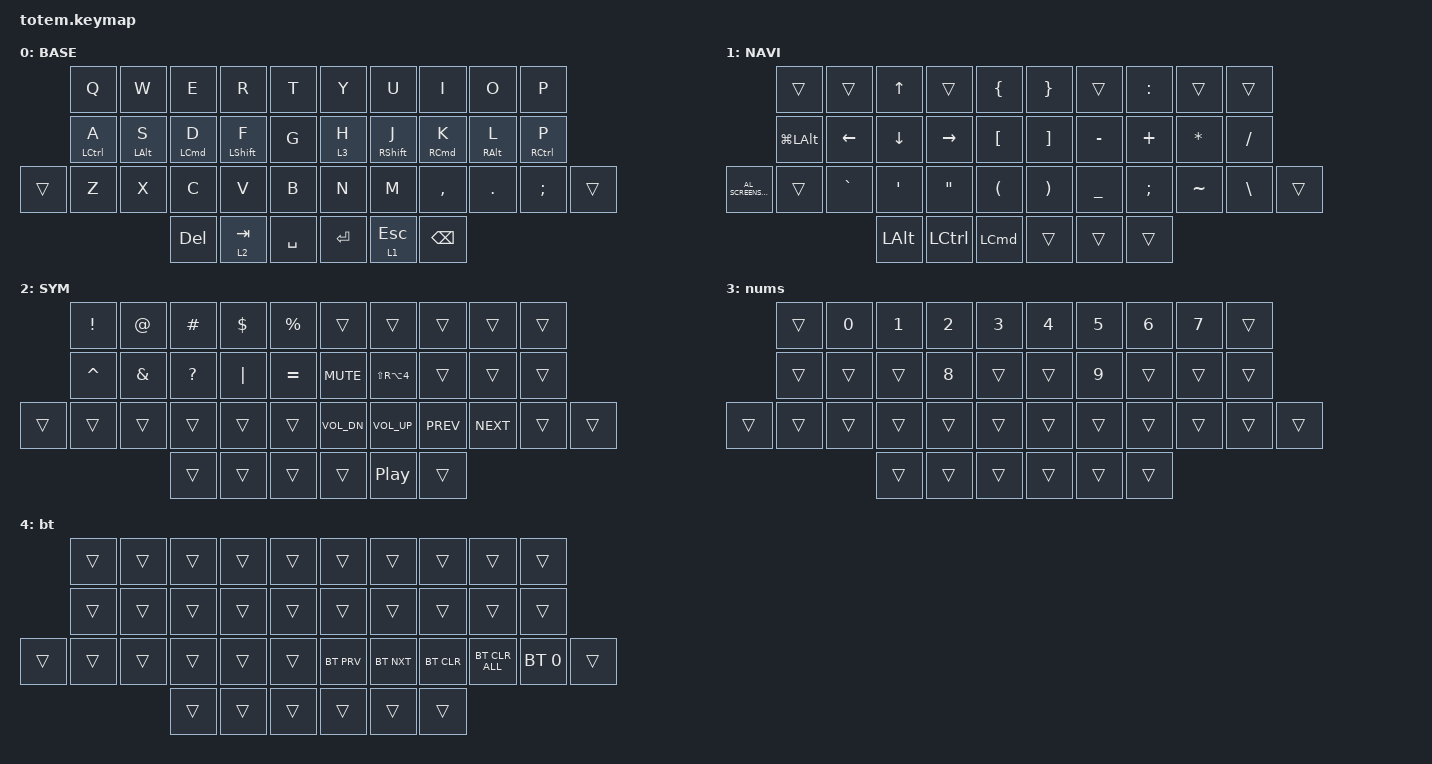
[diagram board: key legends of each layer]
//
//                                                        ▀▀▀▀▀     ▀▀▀▀▀          ▀▀█▀▀
//                                                        ▄▀▀▀▄  ▄  ▄▀▀▀▄  ▄  ▄▀▀▀▄  █  ▄▀▀▀▄
//                                                        █   █  █  █   █  █  █   █  █  █   █
//                                                         ▀▀▀   █   ▀▀▀   █   ▀▀▀   ▀   ▀▀▀
//                                                               █      ▄▄▄█▄▄▄    █   █  
//                                                               ▀      █  █  █     █▄█
//                                                             ▀▀▀▀▀    █  █  █      ▀
//                                                                      ▀  ▀  ▀
//
// ▄▄▄▄▄▄▄▄▄▄▄▄▄▄▄▄▄▄▄▄▄▄▄▄▄▄▄▄▄▄▄▄▄▄▄▄▄▄▄▄▄▄▄▄▄▄▄▄▄▄▄▄▄▄▄▄▄▄▄▄▄▄▄▄▄▄▄▄▄▄▄▄▄▄▄▄▄▄▄▄▄▄▄▄▄▄▄▄▄▄▄▄▄▄▄▄▄▄▄▄▄▄▄▄▄▄▄▄▄▄▄▄▄▄▄▄▄▄▄▄▄▄▄▄▄▄▄▄▄▄▄▄▄▄▄▄▄▄▄▄▄▄▄▄▄▄▄▄▄

#include <behaviors.dtsi>
#include <dt-bindings/zmk/bt.h>
#include <dt-bindings/zmk/keys.h>

#define BASE 0
#define NAV  1
#define SYM  2
#define ADJ  3
#define TVP1 4
#define TVP2 5

&mt {
    quick-tap-ms = <100>;
    global-quick-tap;
    flavor = "tap-preferred";
    tapping-term-ms = <170>;
};

/ {
    combos {
        compatible = "zmk,combos";

        combo_esc {
            timeout-ms = <50>;
            key-positions = <0 1>;
            bindings = <&kp ESC>;
        };

        combo_tvp {
            timeout-ms = <100>;
            key-positions = <11 12 13>;
            bindings = <&tog 0>;
        };
    };

    keymap {
        compatible = "zmk,keymap";

        // ▄▄▄▄▄▄▄▄▄▄▄▄▄▄▄▄▄▄▄▄▄▄▄▄▄▄▄▄▄▄▄▄▄▄▄▄▄▄▄▄▄▄▄▄▄▄▄▄▄▄▄▄▄▄▄▄▄▄▄▄▄▄▄▄▄▄▄▄▄▄▄▄▄▄▄▄▄▄▄▄▄▄▄▄▄▄▄▄▄▄▄▄▄▄▄▄▄▄▄▄▄▄▄▄▄▄▄▄▄▄▄▄▄▄▄▄▄▄▄▄▄▄▄▄▄▄▄▄▄▄▄▄▄▄▄▄▄▄▄▄▄▄▄▄▄▄▄▄▄

        base_layer {
            // ┏━━━━━━━━━━━━━━━━━━━━━━━━━━━━━━━━━━━━━━━┓

            label = "BASE";

            // ┗━━━━━━━━━━━━━━━━━━━━━━━━━━━━━━━━━━━━━━━┛
            //             ┏━━━━━━━━━━━┳━━━━━━━━━━━┳━━━━━━━━━━━┳━━━━━━━━━━━┳━━━━━━━━━━━┓   ┏━━━━━━━━━━━┳━━━━━━━━━━━┳━━━━━━━━━━━┳━━━━━━━━━━━┳━━━━━━━━━━━┓
            //             ┃     Q     ┃     W     ┃     F     ┃     P     ┃     G     ┃   ┃     J     ┃     L     ┃     U     ┃     Y     ┃     ;     ┃
            //             ┣━━━━━━━━━━━╋━━━━━━━━━━━╋━━━━━━━━━━━╋━━━━━━━━━━━╋━━━━━━━━━━━┫   ┣━━━━━━━━━━━╋━━━━━━━━━━━╋━━━━━━━━━━━╋━━━━━━━━━━━╋━━━━━━━━━━━┫
            //             ┃     A     ┃     R     ┃     S     ┃     T     ┃     D     ┃   ┃     H     ┃     N     ┃     E     ┃     I     ┃     O     ┃
            // ┏━━━━━━━━━━━╋━━━━━━━━━━━╋━━━━━━━━━━━╋━━━━━━━━━━━╋━━━━━━━━━━━╋━━━━━━━━━━━┫   ┣━━━━━━━━━━━╋━━━━━━━━━━━╋━━━━━━━━━━━╋━━━━━━━━━━━╋━━━━━━━━━━━╋━━━━━━━━━━━┓
            // ┃     Q     ┃     Z     ┃     X     ┃     C     ┃     V     ┃     B     ┃   ┃     K     ┃     M     ┃     ,     ┃     .     ┃     /     ┃     \     ┃
            // ┗━━━━━━━━━━━┻━━━━━━━━━━━┻━━━━━━━━━━━╋━━━━━━━━━━━╋━━━━━━━━━━━╋━━━━━━━━━━━┫   ┣━━━━━━━━━━━╋━━━━━━━━━━━╋━━━━━━━━━━━╋━━━━━━━━━━━┻━━━━━━━━━━━┻━━━━━━━━━━━┛
            //                                     ┃    DEL    ┃    TAB    ┃    SPC    ┃   ┃   ENTER   ┃           ┃   BSPC    ┃
            //                                     ┗━━━━━━━━━━━┻━━━━━━━━━━━┻━━━━━━━━━━━┛   ┗━━━━━━━━━━━┻━━━━━━━━━━━┻━━━━━━━━━━━┛

            bindings = <
        &kp Q        &kp W       &kp E               &kp R        &kp T        &kp Y    &kp U        &kp I       &kp O       &kp P
        &mt LCTRL A  &mt LALT S  &mt LEFT_COMMAND D  &mt LSHFT F  &kp G        &lt 3 H  &mt RSHFT J  &mt RCMD K  &mt RALT L  &mt RCTRL P
&trans  &kp Z        &kp X       &kp C               &kp V        &kp B        &kp N    &kp M        &kp COMMA   &kp DOT     &kp SEMICOLON  &trans
                                 &kp DEL             &lt 2 TAB    &kp SPACE    &kp RET  &lt 1 ESC    &kp BSPC
            >;
        };

        nav {
            // ┏━━━━━━━━━━━━━━━━━━━━━━━━━━━━━━━━━━━━━━━┓

            label = "NAVI";

            // ┗━━━━━━━━━━━━━━━━━━━━━━━━━━━━━━━━━━━━━━━┛
            //             ┏━━━━━━━━━━━┳━━━━━━━━━━━┳━━━━━━━━━━━┳━━━━━━━━━━━┳━━━━━━━━━━━┓   ┏━━━━━━━━━━━┳━━━━━━━━━━━┳━━━━━━━━━━━┳━━━━━━━━━━━┳━━━━━━━━━━━┓
            //             ┃           ┃           ┃     UP    ┃           ┃     {     ┃   ┃     }     ┃     7     ┃     8     ┃     9     ┃     +     ┃
            //             ┣━━━━━━━━━━━╋━━━━━━━━━━━╋━━━━━━━━━━━╋━━━━━━━━━━━╋━━━━━━━━━━━┫   ┣━━━━━━━━━━━╋━━━━━━━━━━━╋━━━━━━━━━━━╋━━━━━━━━━━━╋━━━━━━━━━━━┫
            //             ┃   SHIFT   ┃   LEFT    ┃    DOWN   ┃   RIGHT   ┃     [     ┃   ┃     ]     ┃     4     ┃     5     ┃     6     ┃     -     ┃
            // ┏━━━━━━━━━━━╋━━━━━━━━━━━╋━━━━━━━━━━━╋━━━━━━━━━━━╋━━━━━━━━━━━╋━━━━━━━━━━━┫   ┣━━━━━━━━━━━╋━━━━━━━━━━━╋━━━━━━━━━━━╋━━━━━━━━━━━╋━━━━━━━━━━━╋━━━━━━━━━━━┓
            // ┃           ┃           ┃   P UP    ┃  C LOCK   ┃  P DOWN   ┃     (     ┃   ┃     )     ┃     1     ┃     2     ┃     3     ┃     *     ┃           ┃
            // ┗━━━━━━━━━━━┻━━━━━━━━━━━┻━━━━━━━━━━━╋━━━━━━━━━━━╋━━━━━━━━━━━╋━━━━━━━━━━━┫   ┣━━━━━━━━━━━╋━━━━━━━━━━━╋━━━━━━━━━━━╋━━━━━━━━━━━┻━━━━━━━━━━━┻━━━━━━━━━━━┛
            //                                     ┃           ┃    TAB    ┃    SPC    ┃   ┃    DEL    ┃     0     ┃           ┃
            //                                     ┗━━━━━━━━━━━┻━━━━━━━━━━━┻━━━━━━━━━━━┛   ┗━━━━━━━━━━━┻━━━━━━━━━━━┻━━━━━━━━━━━┛

            bindings = <
                      &trans            &trans     &kp UP        &trans             &kp LBRC            &kp RBRC  &trans          &kp COLON      &trans        &trans
                      &kp LG(LEFT_ALT)  &kp LEFT   &kp DOWN      &kp RIGHT          &kp LBKT            &kp RBKT  &kp MINUS       &kp PLUS       &kp ASTERISK  &kp SLASH
&kp C_AL_SCREENSAVER  &trans            &kp GRAVE  &kp SQT       &kp DOUBLE_QUOTES  &kp LPAR            &kp RPAR  &kp UNDERSCORE  &kp SEMICOLON  &kp TILDE     &kp BACKSLASH  &trans
                                                   &kp LEFT_ALT  &kp LCTRL          &kp LEFT_COMMAND    &trans    &trans          &trans
            >;
        };

        specials {
            // ┏━━━━━━━━━━━━━━━━━━━━━━━━━━━━━━━━━━━━━━━┓

            label = "SYM";

            // ┗━━━━━━━━━━━━━━━━━━━━━━━━━━━━━━━━━━━━━━━┛
            //             ┏━━━━━━━━━━━┳━━━━━━━━━━━┳━━━━━━━━━━━┳━━━━━━━━━━━┳━━━━━━━━━━━┓   ┏━━━━━━━━━━━┳━━━━━━━━━━━┳━━━━━━━━━━━┳━━━━━━━━━━━┳━━━━━━━━━━━┓
            //             ┃     !     ┃     @     ┃     #     ┃     $     ┃     %     ┃   ┃     ˆ     ┃     &     ┃     Ü     ┃     '     ┃     "     ┃
            //             ┣━━━━━━━━━━━╋━━━━━━━━━━━╋━━━━━━━━━━━╋━━━━━━━━━━━╋━━━━━━━━━━━┫   ┣━━━━━━━━━━━╋━━━━━━━━━━━╋━━━━━━━━━━━╋━━━━━━━━━━━╋━━━━━━━━━━━┫
            //             ┃     Ä     ┃           ┃    SZ     ┃           ┃           ┃   ┃   MUTE    ┃   YEN     ┃   EURO    ┃  POUND    ┃     Ö     ┃
            // ┏━━━━━━━━━━━╋━━━━━━━━━━━╋━━━━━━━━━━━╋━━━━━━━━━━━╋━━━━━━━━━━━╋━━━━━━━━━━━┫   ┣━━━━━━━━━━━╋━━━━━━━━━━━╋━━━━━━━━━━━╋━━━━━━━━━━━╋━━━━━━━━━━━╋━━━━━━━━━━━┓
            // ┃           ┃  EMAIL1   ┃  EMAIL2   ┃           ┃           ┃           ┃   ┃   VOL-    ┃   VOL+    ┃   LAST    ┃   NEXT    ┃     \     ┃           ┃
            // ┗━━━━━━━━━━━┻━━━━━━━━━━━┻━━━━━━━━━━━╋━━━━━━━━━━━╋━━━━━━━━━━━╋━━━━━━━━━━━┫   ┣━━━━━━━━━━━╋━━━━━━━━━━━╋━━━━━━━━━━━╋━━━━━━━━━━━┻━━━━━━━━━━━┻━━━━━━━━━━━┛
            //                                     ┃           ┃    GIF    ┃    ADJ    ┃   ┃           ┃           ┃           ┃
            //                                     ┗━━━━━━━━━━━┻━━━━━━━━━━━┻━━━━━━━━━━━┛   ┗━━━━━━━━━━━┻━━━━━━━━━━━┻━━━━━━━━━━━┛

            bindings = <
        &kp EXCL   &kp AT         &kp HASH      &kp DLLR  &kp PRCNT    &trans        &trans          &trans      &trans      &trans
        &kp CARET  &kp AMPERSAND  &kp QUESTION  &kp PIPE  &kp EQUAL    &kp C_MUTE    &kp LS(RA(N4))  &trans      &trans      &trans
&trans  &trans     &trans         &trans        &trans    &trans       &kp C_VOL_DN  &kp C_VOL_UP    &kp C_PREV  &kp C_NEXT  &trans  &trans
                                  &trans        &trans    &trans       &trans        &kp C_PP        &trans
            >;
        };

        nums {
            bindings = <
        &trans  &kp N0  &kp NUMBER_1  &kp NUMBER_2  &kp NUMBER_3    &kp NUMBER_4  &kp N5        &kp NUMBER_6  &kp NUMBER_7  &trans
        &trans  &trans  &trans        &kp NUMBER_8  &trans          &trans        &kp NUMBER_9  &trans        &trans        &trans
&trans  &trans  &trans  &trans        &trans        &trans          &trans        &trans        &trans        &trans        &trans  &trans
                        &trans        &trans        &trans          &trans        &trans        &trans
            >;
        };

        bt {
            bindings = <
        &trans  &trans  &trans  &trans  &trans    &trans      &trans      &trans      &trans          &trans
        &trans  &trans  &trans  &trans  &trans    &trans      &trans      &trans      &trans          &trans
&trans  &trans  &trans  &trans  &trans  &trans    &bt BT_PRV  &bt BT_NXT  &bt BT_CLR  &bt BT_CLR_ALL  &bt BT_SEL 0  &trans
                        &trans  &trans  &trans    &trans      &trans      &trans
            >;
        };

        // ▄▄▄▄▄▄▄▄▄▄▄▄▄▄▄▄▄▄▄▄▄▄▄▄▄▄▄▄▄▄▄▄▄▄▄▄▄▄▄▄▄▄▄▄▄▄▄▄▄▄▄▄▄▄▄▄▄▄▄▄▄▄▄▄▄▄▄▄▄▄▄▄▄▄▄▄▄▄▄▄▄▄▄▄▄▄▄▄▄▄▄▄▄▄▄▄▄▄▄▄▄▄▄▄▄▄▄▄▄▄▄▄▄▄▄▄▄▄▄▄▄▄▄▄▄▄▄▄▄▄▄▄▄▄▄▄▄▄▄▄▄▄▄▄▄▄▄▄▄
        // ▄▄▄▄▄▄▄▄▄▄▄▄▄▄▄▄▄▄▄▄▄▄▄▄▄▄▄▄▄▄▄▄▄▄▄▄▄▄▄▄▄▄▄▄▄▄▄▄▄▄▄▄▄▄▄▄▄▄▄▄▄▄▄▄▄▄▄▄▄▄▄▄▄▄▄▄▄▄▄▄▄▄▄▄▄▄▄▄▄▄▄▄▄▄▄▄▄▄▄▄▄▄▄▄▄▄▄▄▄▄▄▄▄▄▄▄▄▄▄▄▄▄▄▄▄▄▄▄▄▄▄▄▄▄▄▄▄▄▄▄▄▄▄▄▄▄▄▄▄
        // ▄▄▄▄▄▄▄▄▄▄▄▄▄▄▄▄▄▄▄▄▄▄▄▄▄▄▄▄▄▄▄▄▄▄▄▄▄▄▄▄▄▄▄▄▄▄▄▄▄▄▄▄▄▄▄▄▄▄▄▄▄▄▄▄▄▄▄▄▄▄▄▄▄▄▄▄▄▄▄▄▄▄▄▄▄▄▄▄▄▄▄▄▄▄▄▄▄▄▄▄▄▄▄▄▄▄▄▄▄▄▄▄▄▄▄▄▄▄▄▄▄▄▄▄▄▄▄▄▄▄▄▄▄▄▄▄▄▄▄▄▄▄▄▄▄▄▄▄▄
    };
};
